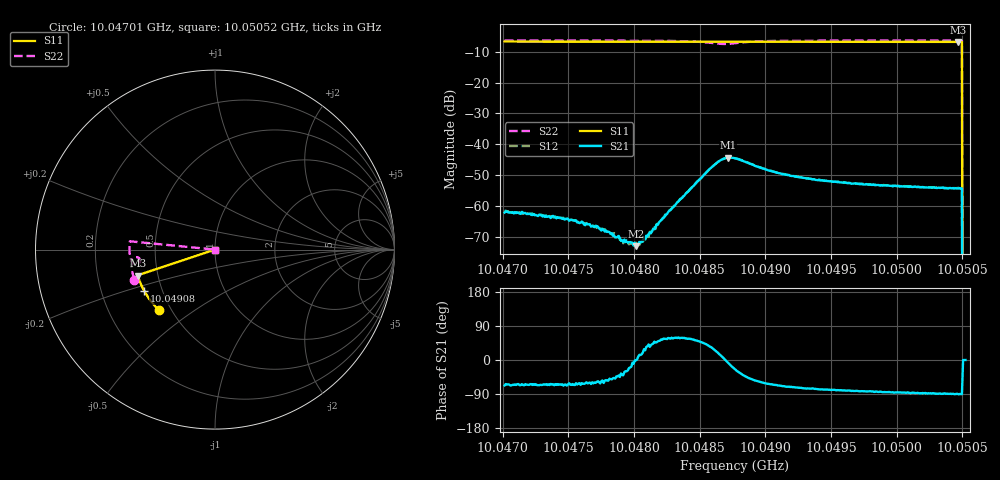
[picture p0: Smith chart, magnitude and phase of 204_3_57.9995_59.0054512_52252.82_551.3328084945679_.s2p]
#  HZ  S  RI  R  50.00
! Rohde & Schwarz Vector Network Analyzer
! Rohde-Schwarz,ZNB20-2Port,1311601062101988,3.16
! Created: UTC 3/21/2024, 12:59:23 AM
! freq[Hz]  re:S11  im:S11  re:S21  im:S21  re:S12  im:S12  re:S22  im:S22
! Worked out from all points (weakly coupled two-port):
!   401 points, 10.04701 GHz to 10.05052 GHz, reference 50 ohm
!   highest |S21| = -44.33 dB at 10.04872 GHz (marker M1); lowest = -72.9 dB at 10.04801 GHz (marker M2)
!   lowest |S11| = -6.9 dB at 10.05047 GHz (marker M3), VSWR 2.67, Z = 19.2 - j7 ohm
!   |S11| at or under -10 dB: 10.0505 GHz to end of sweep
!   |S22| runs from - to -6.4 dB; largest |S21 - S12| = 0.00042
!   S11 on the Smith chart (normalised r, x): 10.04701 GHz: 0.43, -0.37; 10.04908 GHz: 0.40, -0.23; 10.05052 GHz: 1.00, +0.00
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1.0047014e10  -0.3134 -0.3375  0.000308 -0.000726  0.000413 -0.000724  -0.4492 -0.1675
1.0047163e10  -0.3203 -0.3305  0.000307 -0.000709  0.000352 -0.000677  -0.4523 -0.1576
1.00474e10  -0.331 -0.319  0.00029 -0.000587  0.000331 -0.000596  -0.4572 -0.1419
1.0047602e10  -0.3398 -0.3089  0.000274 -0.000494  0.000303 -0.000459  -0.4605 -0.1278
1.0047707e10  -0.3443 -0.3037  0.000233 -0.000411  0.000279 -0.000397  -0.4621 -0.1206
1.0047769e10  -0.3469 -0.3004  0.000204 -0.000362  0.000264 -0.000327  -0.463 -0.1159
1.0047865e10  -0.3509 -0.2955  0.000228 -0.000215  0.000258 -0.000212  -0.4641 -0.1086
1.0047936e10  -0.3538 -0.2917  0.000229 -0.000129  0.000226 -0.000113  -0.465 -0.103
1.0048015e10  -0.357 -0.2878  0.000225 -4.11e-06  0.000252 4.31e-05  -0.4655 -0.0968
1.004805e10  -0.3583 -0.2857  0.000252 5.79e-05  0.000243 9.47e-05  -0.4659 -0.0939
1.0048094e10  -0.3601 -0.2834  0.000275 0.000189  0.000263 0.000169  -0.4659 -0.0902
1.004819e10  -0.3638 -0.2784  0.000349 0.000418  0.00033 0.000438  -0.466 -0.0815
1.0048585e10  -0.3783 -0.2565  0.00343 0.00233  0.00332 0.00253  -0.4368 -0.0424
1.0048655e10  -0.3805 -0.2527  0.00531 0.0013  0.00524 0.00163  -0.4207 -0.0503
1.0048717e10  -0.3824 -0.2494  0.00603 -0.000785  0.0061 -0.000441  -0.4169 -0.0678
1.0048769e10  -0.3843 -0.2467  0.00542 -0.00248  0.00561 -0.00214  -0.4256 -0.0796
1.0049077e10  -0.3948 -0.2293  0.00145 -0.00324  0.00162 -0.00316  -0.4668 -0.0612
1.0049357e10  -0.4035 -0.2128  0.000703 -0.00264  0.000801 -0.0026  -0.4739 -0.036
1.0049946e10  -0.4194 -0.1773  0.000204 -0.00213  0.000299 -0.00212  -0.4766 0.00819
1.0050472e10  -0.4307 -0.1448  -1.55e-05 -0.00193  0.000124 -0.00197  -0.4745 0.0446
1.0050481e10  -0.4309 -0.1442  9.11e-06 -0.00195  8.9e-05 -0.00195  -0.4745 0.045
1.0050525e10  0 0  0 0  0 0  0 0
